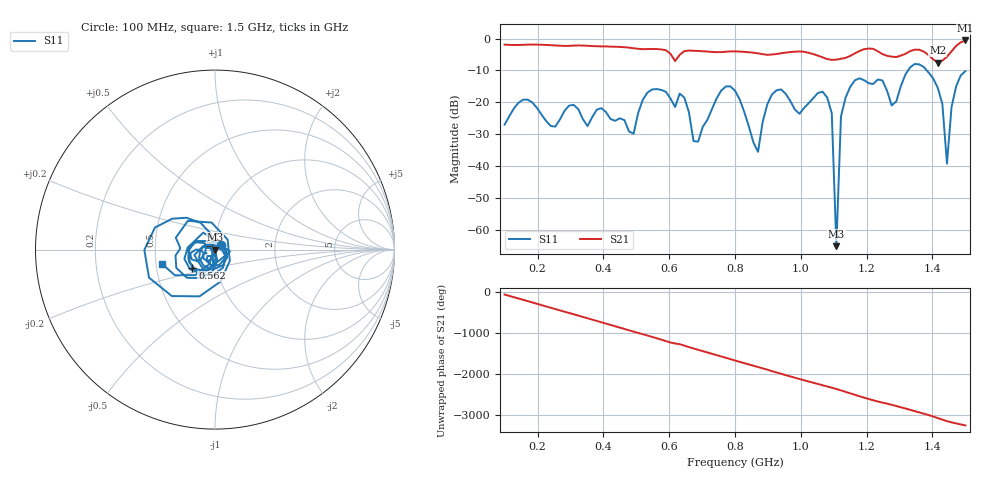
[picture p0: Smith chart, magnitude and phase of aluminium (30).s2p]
! NanoVNA-App
! Date: 2025-09-26 09:58:17
! Start: 100MHz Stop: 1,5GHz Points: 101
! S-Parameter data: F S11 S21 S12 S22
# Hz S RI R 50
!  Frequency  S11_Real  S11_Imag  S21_Real  S21_Imag  S12_Real  S12_Imag  S22_Real  S22_Imag
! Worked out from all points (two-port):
!   101 points, 100 MHz to 1.5 GHz, reference 50 ohm
!   highest |S21| = -0.60 dB at 1.5 GHz (marker M1); lowest = -7.5 dB at 1.416 GHz (marker M2)
!   |S21| within 3 dB of the highest: start of sweep to 586.3 MHz; 1.186 GHz to 1.227 GHz (40.92 MHz wide, 3.39 % of centre)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
!   lowest |S11| = -65.0 dB at 1.108 GHz (marker M3), VSWR 1.00, Z = 50 + j0.0416 ohm
!   |S11| at or under -10 dB: start of sweep to 1.326 GHz; 1.383 GHz to end of sweep
!   S12 and S22 are empty: the file has one direction only
!   S11 on the Smith chart (normalised r, x): 100 MHz: 1.07, +0.06; 562 MHz: 0.76, -0.16; 1.5 GHz: 0.54, -0.09
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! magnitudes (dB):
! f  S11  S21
! 100 MHz  -27.0  -1.9
! 156 MHz  -19.2  -2.0
! 338 MHz  -25.3  -2.2
! 492 MHz  -29.8  -3.0
! 562 MHz  -15.8  -3.3
! 576 MHz  -16.1  -3.4
! 646 MHz  -18.5  -4.0
! 688 MHz  -32.3  -3.9
! 800 MHz  -16.3  -4.0
! 870 MHz  -35.5  -4.7
! 912 MHz  -17.6  -5.0
! 1.038 GHz  -18.7  -4.9
! 1.094 GHz  -23.4  -6.7
! 1.108 GHz  -65.0  -6.6
! 1.122 GHz  -24.4  -6.3
! 1.136 GHz  -18.5  -6.0
! 1.276 GHz  -20.9  -5.7
! 1.346 GHz  -8.0  -3.5
! 1.416 GHz  -15.4  -7.5
! 1.444 GHz  -39.2  -5.7
! 1.458 GHz  -21.4  -4.0
! 1.5 GHz  -10.2  -0.6
